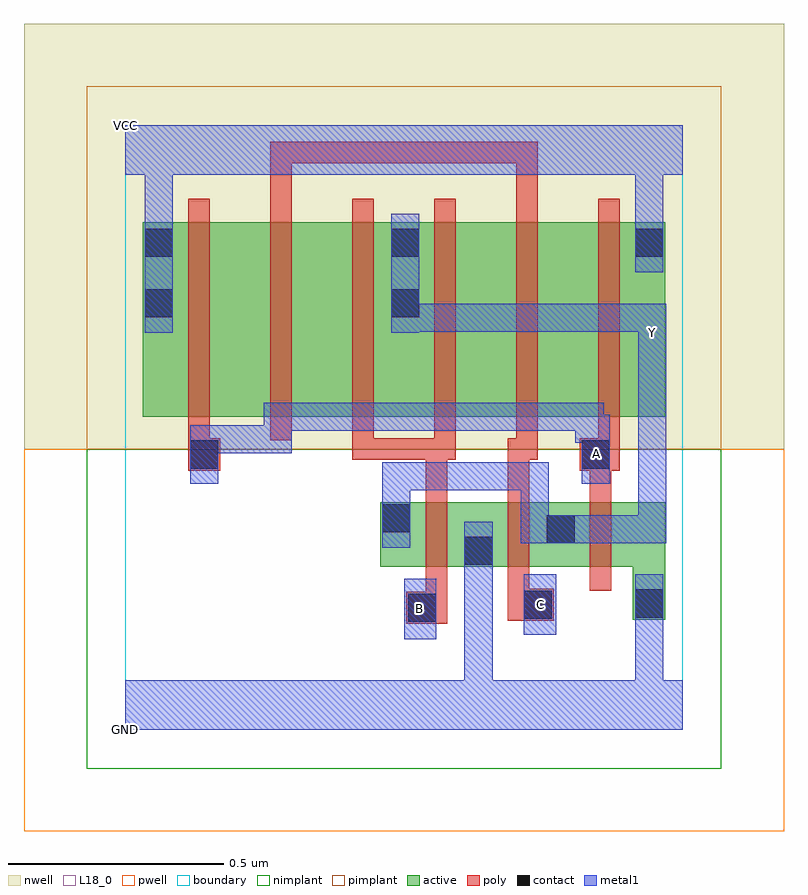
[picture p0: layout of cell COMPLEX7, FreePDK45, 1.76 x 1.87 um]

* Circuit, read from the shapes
.subckt COMPLEX7 A B C GND VCC Y
M1 GND B Y VSUBS nfet w=0.15u l=0.05u
M2 Y C GND VSUBS nfet w=0.15u l=0.05u
M3 GND A Y VSUBS nfet w=0.15u l=0.05u
M4 n1 A VCC n2 pfet w=0.45u l=0.05u
M5 n3 C n1 n2 pfet w=0.45u l=0.05u
M6 Y B n3 n2 pfet w=0.45u l=0.05u
M7 n4 B Y n2 pfet w=0.45u l=0.05u
M8 n5 C n4 n2 pfet w=0.45u l=0.05u
M9 VCC A n5 n2 pfet w=0.45u l=0.05u
.ends

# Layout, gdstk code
import gdstk
lib = gdstk.Library(unit=1e-6, precision=1e-09)
def R(c, l, rs):  # rectangles x0, y0, x1, y1
    for r in rs: c.add(gdstk.rectangle(r[:2], r[2:], *l))
def A(c, l, x, y, w, h, nx, ny, dx, dy):  # array of equal rectangles
    R(c, l, [(x+i*dx, y+j*dy, x+i*dx+w, y+j*dy+h) for i in range(nx) for j in range(ny)])
active = (1, 0)
pwell = (2, 0)
nwell = (3, 0)
nimplant = (4, 0)
pimplant = (5, 0)
poly = (9, 0)
contact = (10, 0)
metal1 = (11, 0)
L18_0 = (18, 0)
boundary = (235, 0)

complex7 = lib.new_cell('COMPLEX7')
R(complex7, active, [(1.175,0.255,1.25,0.527), (0.59,0.377,0.855,0.527), (0.78,0.377,1.045,0.527), (0.78,0.377,0.855,0.475), (0.97,0.377,1.25,0.527), (0.97,0.377,1.045,0.502), (0.59,0.432,0.665,0.527), (0.04,0.725,0.265,1.175), (0.04,0.725,0.115,1.175), (0.265,0.725,0.455,1.175), (0.455,0.725,0.685,1.175), (0.61,0.725,0.835,1.175), (0.61,0.725,0.685,1.175), (0.835,0.725,1.025,1.175), (1.025,0.725,1.25,1.175), (1.175,0.855,1.25,1.175)])
R(complex7, pwell, [(-0.235,-0.235,1.525,0.65)])
R(complex7, nwell, [(-0.235,0.65,1.525,1.635)])
R(complex7, nimplant, [(-0.09,-0.09,1.38,0.65)])
R(complex7, pimplant, [(-0.09,0.65,1.38,1.49)])
A(complex7, poly, 0.695, 0.322, 0.05, 0.26, 3, 1, 0.19, 0)
A(complex7, poly, 0.525, 0.625, 0.05, 0.095, 4, 1, 0.19, 0)
A(complex7, poly, 0.145, 0.67, 0.05, 0.56, 6, 1, 0.19, 0)
R(complex7, poly, [(0.65,0.245,0.745,0.32), (0.885,0.252,0.992,0.327), (0.695,0.27,0.745,0.372), (0.885,0.277,0.935,0.372), (0.695,0.532,0.745,0.675), (0.885,0.532,0.935,0.675), (1.075,0.532,1.125,0.65), (0.145,0.6,0.22,0.675), (1.052,0.6,1.145,0.675), (0.145,0.625,0.195,0.72), (0.525,0.625,0.575,0.675), (0.525,0.625,0.575,0.675), (0.525,0.625,0.575,0.675), (0.525,0.625,0.745,0.675), (0.695,0.625,0.765,0.675), (0.885,0.625,0.955,0.675), (0.335,1.18,0.385,1.362), (0.905,1.18,0.955,1.362), (0.335,1.312,0.385,1.362), (0.335,1.312,0.385,1.362), (0.335,1.312,0.385,1.362), (0.335,1.312,0.567,1.362), (0.517,1.312,0.567,1.362), (0.517,1.312,0.567,1.362), (0.517,1.312,0.567,1.362), (0.517,1.312,0.802,1.362), (0.752,1.312,0.802,1.362), (0.752,1.312,0.955,1.362), (0.905,1.312,0.955,1.362), (0.905,1.312,0.955,1.362), (0.905,1.312,0.955,1.362)])
R(complex7, contact, [(0.655,0.25,0.72,0.315), (0.922,0.257,0.987,0.322), (1.18,0.26,1.245,0.325), (0.785,0.382,0.85,0.447), (0.975,0.432,1.04,0.497), (0.595,0.457,0.66,0.522), (0.15,0.605,0.215,0.67), (1.057,0.605,1.122,0.67), (0.045,0.955,0.11,1.02), (0.615,0.955,0.68,1.02), (0.045,1.095,0.11,1.16), (0.615,1.095,0.68,1.16), (1.18,1.095,1.245,1.16)])
R(complex7, metal1, [(0,0,1.29,0.115), (0.785,0.05,0.85,0.115), (0.785,0.05,0.85,0.115), (0.785,0.05,0.85,0.115), (0.785,0.05,0.85,0.115), (0.785,0.05,0.85,0.115), (0.785,0.05,0.85,0.115), (0.785,0.05,0.85,0.412), (1.18,0.05,1.245,0.115), (1.18,0.05,1.245,0.115), (1.18,0.05,1.245,0.115), (1.18,0.05,1.245,0.115), (1.18,0.05,1.245,0.115), (1.18,0.05,1.245,0.115), (1.18,0.05,1.245,0.29), (0.645,0.21,0.72,0.35), (0.922,0.22,0.997,0.36), (1.18,0.225,1.245,0.36), (0.785,0.347,0.85,0.482), (0.595,0.422,0.66,0.557), (0.915,0.432,1.005,0.497), (0.915,0.432,0.98,0.62), (0.94,0.432,1.075,0.497), (1.01,0.432,1.252,0.497), (1.187,0.432,1.252,0.497), (1.187,0.432,1.252,0.497), (1.187,0.432,1.252,0.497), (1.187,0.432,1.252,0.917), (0.595,0.492,0.66,0.557), (0.595,0.492,0.66,0.62), (0.595,0.555,0.867,0.62), (0.802,0.555,0.867,0.62), (0.802,0.555,0.98,0.62), (0.15,0.57,0.215,0.705), (1.057,0.57,1.122,0.73), (0.15,0.64,0.247,0.705), (0.182,0.64,0.247,0.705), (0.182,0.64,0.385,0.705), (0.32,0.64,0.385,0.705), (0.32,0.64,0.385,0.705), (0.32,0.64,0.385,0.757), (1.042,0.665,1.122,0.73), (1.042,0.665,1.107,0.757), (0.32,0.692,0.522,0.757), (0.457,0.692,0.522,0.757), (0.457,0.692,0.66,0.757), (0.595,0.692,0.66,0.757), (0.595,0.692,0.66,0.757), (0.595,0.692,0.66,0.757), (0.595,0.692,0.867,0.757), (0.802,0.692,0.867,0.757), (0.802,0.692,0.867,0.757), (0.802,0.692,0.867,0.757), (0.802,0.692,1.107,0.757), (1.187,0.852,1.252,0.987), (0.045,0.92,0.11,1.195), (0.615,0.92,0.68,1.195), (0.615,0.922,0.68,0.987), (0.615,0.922,0.68,0.987), (0.615,0.922,0.867,0.987), (0.802,0.922,0.867,0.987), (0.802,0.922,0.867,0.987), (0.802,0.922,0.867,0.987), (0.802,0.922,1.005,0.987), (0.94,0.922,1.005,0.987), (0.94,0.922,1.252,0.987), (1.187,0.922,1.252,0.987), (1.187,0.922,1.252,0.987), (1.187,0.922,1.252,0.987), (1.187,0.922,1.252,0.987), (1.18,1.06,1.245,1.195), (0.045,1.13,0.11,1.35), (1.18,1.13,1.245,1.35), (0,1.285,1.29,1.4), (0.045,1.285,0.11,1.35), (0.045,1.285,0.11,1.35), (1.18,1.285,1.245,1.35), (1.18,1.285,1.245,1.35)])
R(complex7, L18_0, [(0,0,1.29,0.115), (0.785,0.05,0.85,0.115), (0.785,0.05,0.85,0.115), (0.785,0.05,0.85,0.115), (0.785,0.05,0.85,0.115), (0.785,0.05,0.85,0.115), (0.785,0.05,0.85,0.115), (0.785,0.05,0.85,0.412), (1.18,0.05,1.245,0.115), (1.18,0.05,1.245,0.115), (1.18,0.05,1.245,0.115), (1.18,0.05,1.245,0.115), (1.18,0.05,1.245,0.115), (1.18,0.05,1.245,0.115), (1.18,0.05,1.245,0.29), (0.645,0.21,0.72,0.35), (0.922,0.22,0.997,0.36), (1.18,0.225,1.245,0.36), (0.647,0.247,0.712,0.312), (0.927,0.257,0.992,0.322), (0.785,0.347,0.85,0.482), (0.595,0.422,0.66,0.557), (0.915,0.432,0.98,0.62), (0.915,0.432,1.005,0.497), (0.94,0.432,1.075,0.497), (1.01,0.432,1.252,0.497), (1.187,0.432,1.252,0.497), (1.187,0.432,1.252,0.497), (1.187,0.432,1.252,0.497), (1.187,0.432,1.252,0.917), (0.595,0.492,0.66,0.557), (0.595,0.492,0.66,0.62), (0.595,0.555,0.867,0.62), (0.802,0.555,0.867,0.62), (0.802,0.555,0.98,0.62), (0.15,0.57,0.215,0.705), (1.057,0.57,1.122,0.73), (1.057,0.607,1.122,0.672), (0.15,0.64,0.247,0.705), (0.182,0.64,0.247,0.705), (0.182,0.64,0.385,0.705), (0.32,0.64,0.385,0.705), (0.32,0.64,0.385,0.705), (0.32,0.64,0.385,0.757), (1.042,0.665,1.107,0.757), (1.042,0.665,1.122,0.73), (0.32,0.692,0.522,0.757), (0.457,0.692,0.522,0.757), (0.457,0.692,0.66,0.757), (0.595,0.692,0.66,0.757), (0.595,0.692,0.66,0.757), (0.595,0.692,0.66,0.757), (0.595,0.692,0.867,0.757), (0.802,0.692,0.867,0.757), (0.802,0.692,0.867,0.757), (0.802,0.692,0.867,0.757), (0.802,0.692,1.107,0.757), (1.187,0.852,1.252,0.987), (1.187,0.887,1.252,0.952), (0.045,0.92,0.11,1.195), (0.615,0.92,0.68,1.195), (0.615,0.922,0.68,0.987), (0.615,0.922,0.68,0.987), (0.615,0.922,0.867,0.987), (0.802,0.922,0.867,0.987), (0.802,0.922,0.867,0.987), (0.802,0.922,0.867,0.987), (0.802,0.922,1.005,0.987), (0.94,0.922,1.005,0.987), (0.94,0.922,1.252,0.987), (1.187,0.922,1.252,0.987), (1.187,0.922,1.252,0.987), (1.187,0.922,1.252,0.987), (1.187,0.922,1.252,0.987), (1.18,1.06,1.245,1.195), (0.045,1.13,0.11,1.35), (1.18,1.13,1.245,1.35), (0,1.285,1.29,1.4), (0.045,1.285,0.11,1.35), (0.045,1.285,0.11,1.35), (1.18,1.285,1.245,1.35), (1.18,1.285,1.245,1.35)])
R(complex7, boundary, [(0,0,1.29,1.4)])
complex7.add(gdstk.Label('A', (1.09,0.64), layer=11, texttype=0))
complex7.add(gdstk.Label('B', (0.68,0.28), layer=11, texttype=0))
complex7.add(gdstk.Label('C', (0.96,0.29), layer=11, texttype=0))
complex7.add(gdstk.Label('Y', (1.22,0.92), layer=11, texttype=0))
complex7.add(gdstk.Label('VCC', (0,1.4), layer=11, texttype=0))
complex7.add(gdstk.Label('GND', (0,0), layer=11, texttype=0))

lib.write_gds('COMPLEX7.gds')
